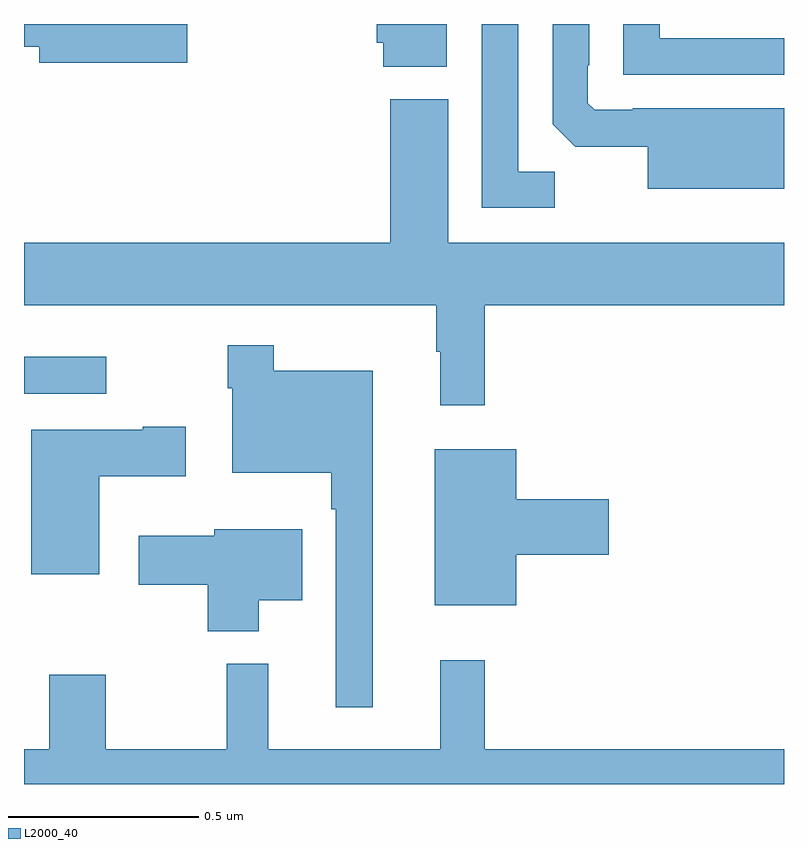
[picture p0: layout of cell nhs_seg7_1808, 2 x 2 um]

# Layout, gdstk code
import gdstk
lib = gdstk.Library(unit=1e-6, precision=1e-09)
def R(c, l, rs):  # rectangles x0, y0, x1, y1
    for r in rs: c.add(gdstk.rectangle(r[:2], r[2:], *l))
def P(c, l, *ps):  # polygons
    for p in ps: c.add(gdstk.Polygon(p, *l))
L2000_40 = (2000, 40)

nhs_seg7_1808 = lib.new_cell('nhs_seg7_1808')
R(nhs_seg7_1808, L2000_40, [(136,1023.027,136.216,1023.124)])
P(nhs_seg7_1808, L2000_40, [(138,1023.778),(137.602,1023.778),(137.602,1023.774),(137.502,1023.774),(137.484,1023.792),(137.484,1023.892),(137.487,1023.892),(137.487,1024),(137.391,1024),(137.391,1023.736),(137.45,1023.677),(137.642,1023.677),(137.642,1023.566),(138,1023.566)],
  [(137.397,1023.611),(137.301,1023.611),(137.301,1024),(137.205,1024),(137.205,1023.516),(137.397,1023.516)],
  [(137.113,1024),(136.928,1024),(136.928,1023.951),(136.946,1023.951),(136.946,1023.887),(137.113,1023.887)],
  [(136.429,1024),(136,1024),(136,1023.94),(136.04,1023.94),(136.04,1023.898),(136.429,1023.898)],
  [(138,1023.963),(137.673,1023.963),(137.673,1024),(137.577,1024),(137.577,1023.867),(138,1023.867)],
  [(137.213,1023.26),(138,1023.26),(138,1023.424),(137.116,1023.424),(137.116,1023.802),(136.964,1023.802),(136.964,1023.424),(136,1023.424),(136,1023.26),(137.085,1023.26),(137.085,1023.137),(137.096,1023.137),(137.096,1022.997),(137.213,1022.997)],
  [(136.918,1023.088),(136.657,1023.088),(136.657,1023.154),(136.536,1023.154),(136.536,1023.041),(136.548,1023.041),(136.548,1022.819),(136.809,1022.819),(136.809,1022.723),(136.821,1022.723),(136.821,1022.202),(136.918,1022.202)],
  [(136.198,1022.81),(136.426,1022.81),(136.426,1022.94),(136.313,1022.94),(136.313,1022.932),(136.019,1022.932),(136.019,1022.552),(136.198,1022.552)],
  [(137.296,1022.603),(137.539,1022.603),(137.539,1022.75),(137.296,1022.75),(137.296,1022.881),(137.081,1022.881),(137.081,1022.471),(137.296,1022.471)],
  [(136.618,1022.483),(136.732,1022.483),(136.732,1022.671),(136.5,1022.671),(136.5,1022.653),(136.302,1022.653),(136.302,1022.524),(136.484,1022.524),(136.484,1022.402),(136.618,1022.402)],
  [(138,1022.092),(137.213,1022.092),(137.213,1022.326),(137.096,1022.326),(137.096,1022.092),(136.643,1022.092),(136.643,1022.317),(136.533,1022.317),(136.533,1022.092),(136.215,1022.092),(136.215,1022.287),(136.067,1022.287),(136.067,1022.092),(136,1022.092),(136,1022),(138,1022)])

lib.write_gds('nhs_seg7_1808.gds')
